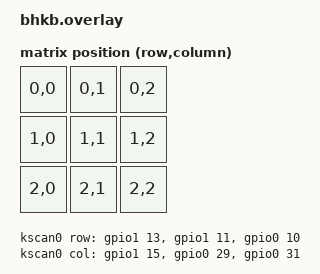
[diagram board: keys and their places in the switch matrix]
#include <dt-bindings/zmk/matrix_transform.h>

&i2c0 {
    status = "okay";
    compatible = "nordic,nrf-twi";
    pinctrl-0 = <&i2c0_default>;
    pinctrl-1 = <&i2c0_sleep>;
    clock-frequency = <I2C_BITRATE_FAST>;
    pinctrl-names = "default", "sleep";

    ssd1306_ssd1306_128x32: ssd1306@3c {
        compatible = "solomon,ssd1306fb";
        reg = <0x3c>;
        label = "SSD1306";
        width = <128>;
        height = <32>;
        segment-offset = <0>;
        page-offset = <0>;
        display-offset = <0>;
        multiplex-ratio = <31>;
        segment-remap;
        com-invdir;
        com-sequential;
        prechargep = <0x22>;
    };
};

&pinctrl {
    i2c0_default: i2c0_default {
        group1 {
            psels = <NRF_PSEL(TWIM_SDA, 0, 17)>,
                <NRF_PSEL(TWIM_SCL, 0, 20)>;
            bias-pull-up;
        };
    };

    i2c0_sleep: i2c0_sleep {
        group1 {
            psels = <NRF_PSEL(TWIM_SDA, 0, 17)>,
                <NRF_PSEL(TWIM_SCL, 0, 20)>;
            low-power-enable;
        };
    };
};

/ {
    chosen {
        zmk,physical-layout = &physical_layout0;
        // zephyr,display = &ssd1306_ssd1306_128x32;
        // Other chosen items
    };
    kscan0: kscan0 {
        compatible = "zmk,kscan-gpio-matrix";
        diode-direction = "col2row";
        wakeup-source;

        col-gpios
            = <&gpio1 15 GPIO_ACTIVE_HIGH>
            , <&gpio0 29 GPIO_ACTIVE_HIGH>
            , <&gpio0 31 GPIO_ACTIVE_HIGH>
            ;

        row-gpios
            = <&gpio1 13 (GPIO_ACTIVE_HIGH | GPIO_PULL_DOWN)>
            , <&gpio1 11 (GPIO_ACTIVE_HIGH | GPIO_PULL_DOWN)>
            , <&gpio0 10 (GPIO_ACTIVE_HIGH | GPIO_PULL_DOWN)>
            ;
    };
    default_transform: keymap_transform0 {
        compatible = "zmk,matrix-transform";
        columns = <3>; // Length of the "col-gpios" array
        rows = <3>; // Length of the "row-gpios" array
        map = <
        //   Key 1 | Key 2 | Key 3
            RC(0,0) RC(0,1) RC(0,2)
        //   Key 4 | Key 5 | Key 6
            RC(1,0) RC(1,1) RC(1,2)
        //   Key 7 | Key 8 | Key 9
            RC(2,0) RC(2,1) RC(2,2)
        >;
    };
    physical_layout0: physical_layout_0 { // First physical layout, use different naming for other layouts
        compatible = "zmk,physical-layout";
        display-name = "Default Layout";
        kscan = <&kscan0>; // Label of the kscan node, optional if all layouts use the same
        transform = <&default_transform>; // Label of the matrix transform for this layout
    };
};
